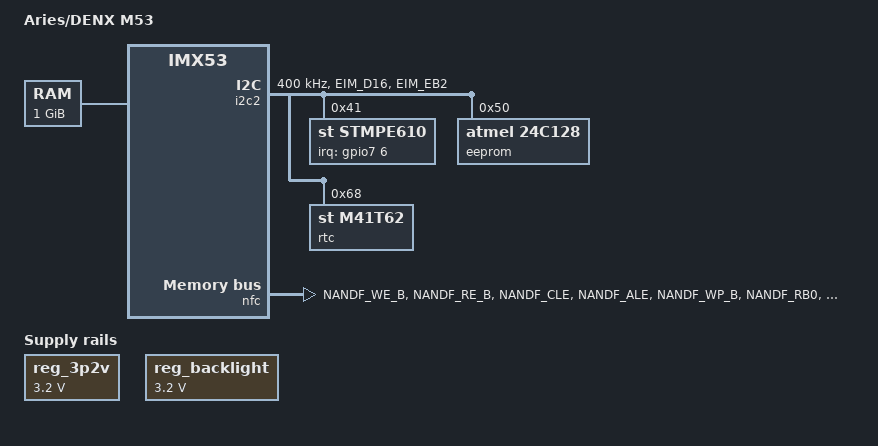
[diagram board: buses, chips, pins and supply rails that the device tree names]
/*
 * Copyright (C) 2014 Marek Vasut <marex@denx.de>
 *
 * The code contained herein is licensed under the GNU General Public
 * License. You may obtain a copy of the GNU General Public License
 * Version 2 or later at the following locations:
 *
 * http://www.opensource.org/licenses/gpl-license.html
 * http://www.gnu.org/copyleft/gpl.html
 */

#include "imx53.dtsi"

/ {
	model = "Aries/DENX M53";
	compatible = "aries,imx53-m53", "denx,imx53-m53", "fsl,imx53";

	memory@70000000 {
		reg = <0x70000000 0x20000000>,
		      <0xb0000000 0x20000000>;
	};

	regulators {
		compatible = "simple-bus";
		#address-cells = <1>;
		#size-cells = <0>;

		reg_3p2v: regulator@0 {
			compatible = "regulator-fixed";
			reg = <0>;
			regulator-name = "3P2V";
			regulator-min-microvolt = <3200000>;
			regulator-max-microvolt = <3200000>;
			regulator-always-on;
		};

		reg_backlight: regulator@1 {
			compatible = "regulator-fixed";
			reg = <1>;
			regulator-name = "lcd-supply";
			regulator-min-microvolt = <3200000>;
			regulator-max-microvolt = <3200000>;
			regulator-always-on;
		};
	};
};

&i2c2 {
	pinctrl-names = "default";
	pinctrl-0 = <&pinctrl_i2c2>;
	clock-frequency = <400000>;
	status = "okay";

	stmpe610@41 {
		compatible = "st,stmpe610";
		reg = <0x41>;
		id = <0>;
		blocks = <0x5>;
		interrupts = <6 0x0>;
		interrupt-parent = <&gpio7>;
		irq-trigger = <0x1>;

		stmpe_touchscreen {
			compatible = "st,stmpe-ts";
			st,sample-time = <4>;
			st,mod-12b = <1>;
			st,ref-sel = <0>;
			st,adc-freq = <1>;
			st,ave-ctrl = <3>;
			st,touch-det-delay = <3>;
			st,settling = <4>;
			st,fraction-z = <7>;
			st,i-drive = <1>;
		};
	};

	eeprom: eeprom@50 {
		compatible = "atmel,24c128";
		reg = <0x50>;
		pagesize = <32>;
	};

	rtc: rtc@68 {
		compatible = "st,m41t62";
		reg = <0x68>;
	};
};

&iomuxc {
	pinctrl-names = "default";
	pinctrl-0 = <&pinctrl_hog>;

	imx53-m53evk {
		pinctrl_hog: hoggrp {
			fsl,pins = <
				MX53_PAD_GPIO_0__CCM_SSI_EXT1_CLK	0x80000000
				MX53_PAD_EIM_EB3__GPIO2_31		0x80000000
				MX53_PAD_PATA_DA_0__GPIO7_6		0x80000000
			>;
		};

		pinctrl_i2c2: i2c2grp {
			fsl,pins = <
				MX53_PAD_EIM_D16__I2C2_SDA		0xc0000000
				MX53_PAD_EIM_EB2__I2C2_SCL		0xc0000000
			>;
		};

		pinctrl_nand: nandgrp {
			fsl,pins = <
				MX53_PAD_NANDF_WE_B__EMI_NANDF_WE_B	0x4
				MX53_PAD_NANDF_RE_B__EMI_NANDF_RE_B	0x4
				MX53_PAD_NANDF_CLE__EMI_NANDF_CLE	0x4
				MX53_PAD_NANDF_ALE__EMI_NANDF_ALE	0x4
				MX53_PAD_NANDF_WP_B__EMI_NANDF_WP_B	0xe0
				MX53_PAD_NANDF_RB0__EMI_NANDF_RB_0	0xe0
				MX53_PAD_NANDF_CS0__EMI_NANDF_CS_0	0x4
				MX53_PAD_PATA_DATA0__EMI_NANDF_D_0	0xa4
				MX53_PAD_PATA_DATA1__EMI_NANDF_D_1	0xa4
				MX53_PAD_PATA_DATA2__EMI_NANDF_D_2	0xa4
				MX53_PAD_PATA_DATA3__EMI_NANDF_D_3	0xa4
				MX53_PAD_PATA_DATA4__EMI_NANDF_D_4	0xa4
				MX53_PAD_PATA_DATA5__EMI_NANDF_D_5	0xa4
				MX53_PAD_PATA_DATA6__EMI_NANDF_D_6	0xa4
				MX53_PAD_PATA_DATA7__EMI_NANDF_D_7	0xa4
			>;
		};
	};
};

&nfc {
	pinctrl-names = "default";
	pinctrl-0 = <&pinctrl_nand>;
	nand-bus-width = <8>;
	nand-ecc-mode = "hw";
	status = "okay";
};
